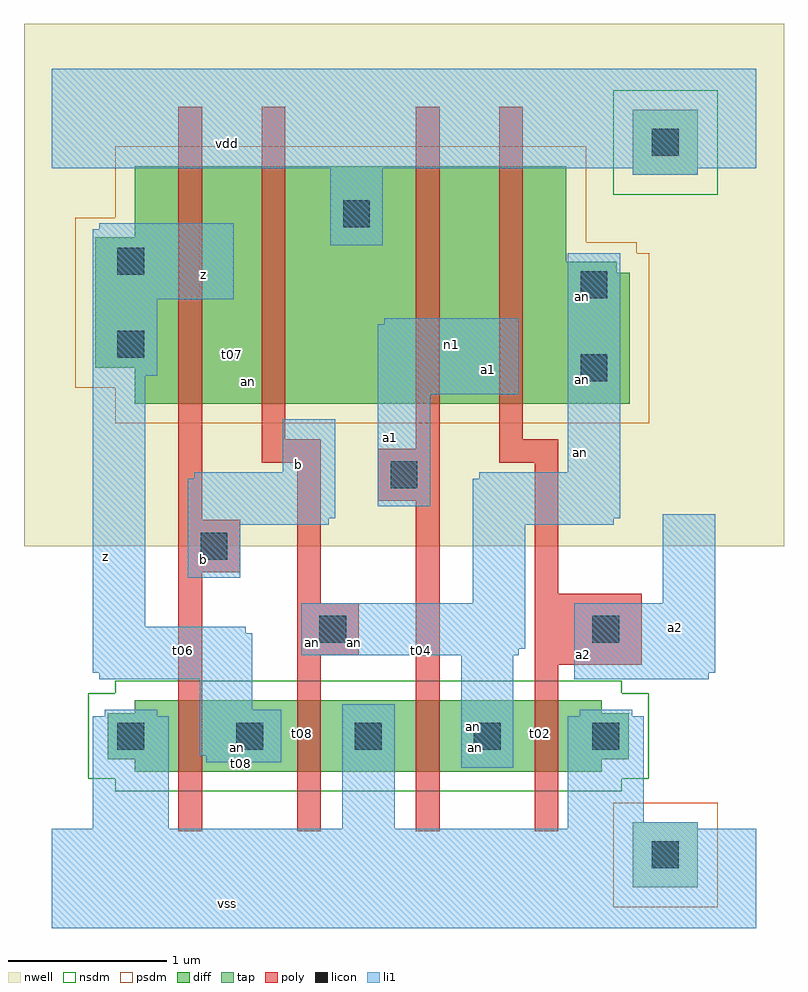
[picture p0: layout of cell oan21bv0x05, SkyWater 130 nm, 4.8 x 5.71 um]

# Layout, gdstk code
import gdstk
lib = gdstk.Library(unit=1e-6, precision=5e-09)
def R(c, l, rs):  # rectangles x0, y0, x1, y1
    for r in rs: c.add(gdstk.rectangle(r[:2], r[2:], *l))
def A(c, l, x, y, w, h, nx, ny, dx, dy):  # array of equal rectangles
    R(c, l, [(x+i*dx, y+j*dy, x+i*dx+w, y+j*dy+h) for i in range(nx) for j in range(ny)])
nwell = (64, 20)
diff = (65, 20)
tap = (65, 44)
poly = (66, 20)
licon = (66, 44)
li1 = (67, 20)
nsdm = (93, 44)
psdm = (94, 20)

oan21bv0x05 = lib.new_cell('oan21bv0x05')
R(oan21bv0x05, nwell, [(-0.3,2.4,4.5,5.7)])
R(oan21bv0x05, diff, [(0.4,0.975,3.35,1.425), (0.23,1.055,3.52,1.345), (0.4,3.3,3.125,4.35), (0.4,3.3,3.125,4.35), (0.4,3.3,3.445,4.195), (0.4,3.3,3.445,4.195), (0.4,3.3,3.525,4.125), (0.4,3.3,3.125,4.8), (0.15,3.525,3.525,4.125), (0.15,3.525,3.525,4.125), (0.15,3.525,3.525,4.125), (0.15,3.525,3.445,4.195), (0.15,3.525,3.445,4.195), (0.15,3.525,3.125,4.35)])
R(oan21bv0x05, tap, [(3.545,0.245,3.955,0.655), (3.545,4.745,3.955,5.155)])
R(oan21bv0x05, poly, [(0.675,0.6,0.825,5.175), (1.425,0.6,1.575,3.075), (2.175,0.6,2.325,5.175), (2.925,0.6,3.075,3.075), (2.925,1.65,3.6,2.1), (1.425,1.71,1.815,2.04), (0.675,2.235,1.065,2.565), (1.935,2.685,2.325,3.015), (1.2,2.925,1.575,3.075), (1.2,2.925,1.35,5.175), (2.7,2.925,3.075,3.075), (2.7,2.925,2.85,5.175)])
A(oan21bv0x05, licon, 0.29, 1.115, 0.17, 0.17, 5, 1, 0.75, 0)
R(oan21bv0x05, licon, [(3.665,0.365,3.835,0.535), (1.565,1.79,1.735,1.96), (3.29,1.79,3.46,1.96), (0.815,2.315,0.985,2.485), (2.015,2.765,2.185,2.935), (3.215,3.44,3.385,3.61), (0.29,3.59,0.46,3.76), (3.215,3.965,3.385,4.135), (0.29,4.115,0.46,4.285), (1.715,4.415,1.885,4.585), (3.665,4.865,3.835,5.035)])
R(oan21bv0x05, li1, [(-0.125,-0.015,4.325,0.615), (-0.125,-0.015,4.325,0.615), (0.135,-0.015,0.615,1.325), (0.21,-0.015,0.54,1.365), (1.71,-0.015,2.04,1.4), (3.135,-0.015,3.615,1.325), (3.135,-0.015,3.955,0.655), (3.21,-0.015,3.54,1.365), (2.46,1,2.79,2.04), (2.535,1,2.79,2.825), (2.575,1,2.79,2.865), (0.85,1.035,1.14,1.85), (0.85,1.035,1.1,1.89), (0.85,1.035,1.325,1.365), (0.81,1.075,1.1,1.89), (0.81,1.075,1.325,1.365), (0.81,1.075,1.14,1.85), (0.175,1.56,0.465,4.44), (0.175,1.56,1.1,1.89), (0.175,1.56,1.14,1.85), (3.175,1.56,4.025,2.04), (3.735,1.56,4.025,2.6), (0.135,1.6,0.465,4.4), (0.135,1.6,1.14,1.85), (0.135,1.6,1.1,1.89), (3.175,1.6,4.065,2.04), (3.735,1.6,4.065,2.6), (3.175,1.635,3.425,1.965), (0.135,1.675,0.465,4.325), (3.735,1.675,4.065,2.525), (1.45,1.71,2.825,2.04), (2.535,1.71,2.825,2.825), (2.575,1.71,2.825,2.865), (1.45,1.75,2.865,2.04), (2.535,1.75,2.865,2.825), (2.575,1.75,2.865,2.865), (0.735,2.2,1.065,2.825), (0.775,2.2,1.065,2.865), (0.775,2.235,1.025,2.565), (0.735,2.535,1.625,2.825), (0.775,2.535,1.625,2.865), (1.335,2.535,1.625,3.2), (2.535,2.535,3.425,2.825), (2.575,2.535,3.425,2.865), (2.575,2.535,3.425,2.865), (3.135,2.535,3.425,4.25), (0.735,2.575,1.665,2.825), (0.775,2.575,1.665,2.865), (1.335,2.575,1.665,3.2), (2.535,2.575,3.465,2.825), (2.535,2.575,3.465,2.825), (2.535,2.575,3.465,2.825), (2.575,2.575,3.465,2.865), (2.575,2.575,3.465,2.865), (3.135,2.575,3.465,4.25), (1.935,2.65,2.265,3.8), (1.975,2.65,2.265,3.84), (1.375,2.835,1.625,3.165), (1.935,2.875,2.265,3.725), (1.935,3.36,2.825,3.8), (1.975,3.36,2.825,3.84), (2.575,3.435,2.825,3.765), (0.135,3.475,0.54,4.4), (0.175,3.475,0.54,4.44), (0.135,3.96,1.025,4.4), (0.175,3.96,1.025,4.44), (0.775,4.035,1.025,4.365), (1.635,4.3,1.965,5.415), (3.545,4.745,3.955,5.415), (-0.125,4.785,4.325,5.415), (-0.125,4.785,4.325,5.415)])
A(oan21bv0x05, nsdm, 0.23, 1.055, 0.29, 0.29, 5, 1, 0.75, 0)
R(oan21bv0x05, nsdm, [(0.275,0.85,3.475,1.55), (0.105,0.93,3.645,1.47), (0.975,0.975,1.275,1.425), (0.975,0.975,1.275,1.425), (1.725,0.975,2.025,1.425), (1.725,0.975,2.025,1.425), (2.475,0.975,2.775,1.425), (2.475,0.975,2.775,1.425), (3.42,4.62,4.08,5.28)])
R(oan21bv0x05, psdm, [(3.42,0.12,4.08,0.78), (0.275,3.175,3.25,4.475), (0.275,3.175,3.25,4.475), (0.275,3.175,3.57,4.32), (0.275,3.175,3.57,4.32), (0.275,3.175,3.25,4.925), (0.275,3.175,3.65,4.25), (0.825,3.3,1.125,4.8), (0.825,3.3,1.125,4.8), (1.575,3.3,2.175,4.8), (1.575,3.3,2.175,4.8), (2.325,3.3,2.625,4.8), (2.325,3.3,2.625,4.8), (3.075,3.3,3.525,4.125), (3.075,3.3,3.525,4.125), (3.155,3.38,3.445,3.67), (0.025,3.4,3.57,4.32), (0.025,3.4,3.57,4.32), (0.025,3.4,3.65,4.25), (0.025,3.4,3.65,4.25), (0.025,3.4,3.65,4.25), (0.025,3.4,3.25,4.475), (0.15,3.525,0.6,4.35), (0.15,3.525,0.6,4.35), (0.23,3.53,0.52,3.82), (3.155,3.905,3.445,4.195), (0.23,4.055,0.52,4.345), (1.655,4.355,1.945,4.645)])
oan21bv0x05.add(gdstk.Label('t08', (1.075,1.025), layer=93, texttype=44))
oan21bv0x05.add(gdstk.Label('an', (0.99,1.065), layer=93, texttype=44))
oan21bv0x05.add(gdstk.Label('t07', (1.015,3.61), layer=94, texttype=20))
oan21bv0x05.add(gdstk.Label('an', (1.115,3.44), layer=94, texttype=20))
oan21bv0x05.add(gdstk.Label('t06', (1.135,1.085), layer=65, texttype=20))
oan21bv0x05.add(gdstk.Label('an', (1.05,1.125), layer=65, texttype=20))
oan21bv0x05.add(gdstk.Label('an', (0.97,3.69), layer=65, texttype=20))
oan21bv0x05.add(gdstk.Label('an', (1.16,3.52), layer=65, texttype=20))
oan21bv0x05.add(gdstk.Label('t07', (1.08,3.675), layer=65, texttype=20))
oan21bv0x05.add(gdstk.Label('an', (2.55,1.125), layer=93, texttype=44))
oan21bv0x05.add(gdstk.Label('an', (3.225,3.975), layer=94, texttype=20))
oan21bv0x05.add(gdstk.Label('an', (3.225,3.45), layer=94, texttype=20))
oan21bv0x05.add(gdstk.Label('n2', (0.9,3.675), layer=94, texttype=20))
oan21bv0x05.add(gdstk.Label('n1', (2.4,3.675), layer=94, texttype=20))
oan21bv0x05.add(gdstk.Label('t06', (0.71,1.74), layer=66, texttype=20))
oan21bv0x05.add(gdstk.Label('an', (1.52,1.79), layer=66, texttype=20))
oan21bv0x05.add(gdstk.Label('t08', (1.46,1.215), layer=66, texttype=20))
oan21bv0x05.add(gdstk.Label('t04', (2.21,1.74), layer=66, texttype=20))
oan21bv0x05.add(gdstk.Label('t02', (2.96,1.215), layer=66, texttype=20))
oan21bv0x05.add(gdstk.Label('an', (3.255,4.005), layer=66, texttype=44))
oan21bv0x05.add(gdstk.Label('an', (3.255,3.48), layer=66, texttype=44))
oan21bv0x05.add(gdstk.Label('an', (2.58,1.155), layer=66, texttype=44))
oan21bv0x05.add(gdstk.Label('an', (1.605,1.83), layer=66, texttype=44))
oan21bv0x05.add(gdstk.Label('z', (0.215,2.335), layer=67, texttype=20))
oan21bv0x05.add(gdstk.Label('b', (0.835,2.315), layer=67, texttype=20))
oan21bv0x05.add(gdstk.Label('z', (0.835,4.115), layer=67, texttype=20))
oan21bv0x05.add(gdstk.Label('b', (1.435,2.915), layer=67, texttype=20))
oan21bv0x05.add(gdstk.Label('a1', (2.015,3.085), layer=67, texttype=20))
oan21bv0x05.add(gdstk.Label('an', (2.54,1.26), layer=67, texttype=20))
oan21bv0x05.add(gdstk.Label('an', (1.79,1.79), layer=67, texttype=20))
oan21bv0x05.add(gdstk.Label('a1', (2.635,3.515), layer=67, texttype=20))
oan21bv0x05.add(gdstk.Label('vss', (0.985,0.14), layer=67, texttype=20))
oan21bv0x05.add(gdstk.Label('a2', (3.235,1.715), layer=67, texttype=20))
oan21bv0x05.add(gdstk.Label('a2', (3.815,1.885), layer=67, texttype=20))
oan21bv0x05.add(gdstk.Label('an', (3.215,2.99), layer=67, texttype=20))
oan21bv0x05.add(gdstk.Label('vdd', (0.985,4.94), layer=67, texttype=20))

lib.write_gds('oan21bv0x05.gds')
